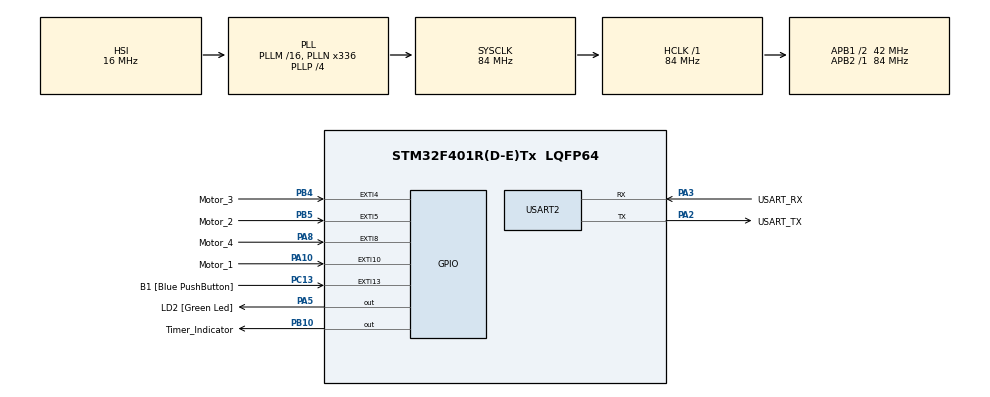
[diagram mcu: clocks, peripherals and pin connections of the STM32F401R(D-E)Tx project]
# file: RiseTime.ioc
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Mcu.Family=STM32F4
Mcu.Name=STM32F401R(D-E)Tx
Mcu.Package=LQFP64
NVIC.EXTI15_10_IRQn=true\:0\:0\:false\:false\:true
NVIC.EXTI4_IRQn=true\:0\:0\:false\:false\:true
NVIC.EXTI9_5_IRQn=true\:0\:0\:false\:false\:true
NVIC.PriorityGroup=NVIC_PRIORITYGROUP_0
NVIC.TIM2_IRQn=true\:0\:0\:false\:false\:true
PA10.GPIO_Label=Motor_1
PA10.GPIO_ModeDefaultEXTI=GPIO_MODE_IT_FALLING
PA10.Signal=GPXTI10
PA13.GPIO_Label=TMS
PA13.Signal=SYS_JTMS-SWDIO
PA14.GPIO_Label=TCK
PA14.Signal=SYS_JTCK-SWCLK
PA2.GPIO_Label=USART_TX
PA2.GPIO_Mode=GPIO_MODE_AF_PP
PA2.GPIO_PuPd=GPIO_NOPULL
PA2.GPIO_Speed=GPIO_SPEED_FREQ_LOW
PA2.Mode=Asynchronous
PA2.Signal=USART2_TX
PA3.GPIO_Label=USART_RX
PA3.GPIO_Mode=GPIO_MODE_AF_PP
PA3.GPIO_PuPd=GPIO_NOPULL
PA3.GPIO_Speed=GPIO_SPEED_FREQ_LOW
PA3.Mode=Asynchronous
PA3.Signal=USART2_RX
PA5.GPIO_Label=LD2 [Green Led]
PA5.GPIO_Mode=GPIO_MODE_OUTPUT_PP
PA5.GPIO_PuPd=GPIO_NOPULL
PA5.GPIO_Speed=GPIO_SPEED_FREQ_LOW
PA5.Signal=GPIO_Output
PA8.GPIO_Label=Motor_4
PA8.GPIO_ModeDefaultEXTI=GPIO_MODE_IT_FALLING
PA8.Signal=GPXTI8
PB10.GPIO_Label=Timer_Indicator
PB10.Signal=GPIO_Output
PB3.GPIO_Label=SWO
PB3.Signal=SYS_JTDO-SWO
PB4.GPIO_Label=Motor_3
PB4.GPIO_ModeDefaultEXTI=GPIO_MODE_IT_FALLING
PB4.Signal=GPXTI4
PB5.GPIO_Label=Motor_2
PB5.GPIO_ModeDefaultEXTI=GPIO_MODE_IT_FALLING
PB5.Signal=GPXTI5
PC13-ANTI_TAMP.GPIO_Label=B1 [Blue PushButton]
PC13-ANTI_TAMP.GPIO_ModeDefaultEXTI=GPIO_MODE_IT_FALLING
PC13-ANTI_TAMP.GPIO_PuPd=GPIO_NOPULL
PC13-ANTI_TAMP.Signal=GPXTI13
PC14-OSC32_IN.Signal=RCC_OSC32_IN
PC15-OSC32_OUT.Signal=RCC_OSC32_OUT
PH0\ -\ OSC_IN.Signal=RCC_OSC_IN
PH1\ -\ OSC_OUT.Signal=RCC_OSC_OUT
ProjectManager.HeapSize=0x200
ProjectManager.StackSize=0x400
ProjectManager.TargetToolchain=SW4STM32
RCC.AHBFreq_Value=84000000
RCC.APB1CLKDivider=RCC_HCLK_DIV2
RCC.APB1Freq_Value=42000000
RCC.APB1TimFreq_Value=84000000
RCC.APB2Freq_Value=84000000
RCC.APB2TimFreq_Value=84000000
RCC.CortexFreq_Value=84000000
RCC.HCLKFreq_Value=84000000
RCC.HSE_VALUE=8000000
RCC.HSI_VALUE=16000000
RCC.LSE_VALUE=32768
RCC.PLLN=336
RCC.PLLP=RCC_PLLP_DIV4
RCC.PLLQ=7
RCC.SYSCLKFreq_VALUE=84000000
RCC.SYSCLKSource=RCC_SYSCLKSOURCE_PLLCLK
RCC.VCOOutputFreq_Value=336000000
TIM2.Period=42000000
TIM2.Prescaler=1
VP_TIM2_VS_ClockSourceINT.Mode=Internal
board=NUCLEO-F401RE

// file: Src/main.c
/**
 ******************************************************************************
 * File Name          : main.c
 * Description        : Main program body
 ******************************************************************************
 *
 * COPYRIGHT(c) 2017 STMicroelectronics
 *
 * Redistribution and use in source and binary forms, with or without modification,
 * are permitted provided that the following conditions are met:
 *   1. Redistributions of source code must retain the above copyright notice,
 *      this list of conditions and the following disclaimer.
 *   2. Redistributions in binary form must reproduce the above copyright notice,
 *      this list of conditions and the following disclaimer in the documentation
 *      and/or other materials provided with the distribution.
 *   3. Neither the name of STMicroelectronics nor the names of its contributors
 *      may be used to endorse or promote products derived from this software
 *      without specific prior written permission.
 *
 * THIS SOFTWARE IS PROVIDED BY THE COPYRIGHT HOLDERS AND CONTRIBUTORS "AS IS"
 * AND ANY EXPRESS OR IMPLIED WARRANTIES, INCLUDING, BUT NOT LIMITED TO, THE
 * IMPLIED WARRANTIES OF MERCHANTABILITY AND FITNESS FOR A PARTICULAR PURPOSE ARE
 * DISCLAIMED. IN NO EVENT SHALL THE COPYRIGHT HOLDER OR CONTRIBUTORS BE LIABLE
 * FOR ANY DIRECT, INDIRECT, INCIDENTAL, SPECIAL, EXEMPLARY, OR CONSEQUENTIAL
 * DAMAGES (INCLUDING, BUT NOT LIMITED TO, PROCUREMENT OF SUBSTITUTE GOODS OR
 * SERVICES; LOSS OF USE, DATA, OR PROFITS; OR BUSINESS INTERRUPTION) HOWEVER
 * CAUSED AND ON ANY THEORY OF LIABILITY, WHETHER IN CONTRACT, STRICT LIABILITY,
 * OR TORT (INCLUDING NEGLIGENCE OR OTHERWISE) ARISING IN ANY WAY OUT OF THE USE
 * OF THIS SOFTWARE, EVEN IF ADVISED OF THE POSSIBILITY OF SUCH DAMAGE.
 *
 ******************************************************************************
 */
#include "main.h"
#include "stm32f4xx_hal.h"
#include "tim.h"
#include "usart.h"
#include "gpio.h"

/* USER CODE BEGIN Includes */
#include <string.h>
#include <stdlib.h>
#include "interruptHandlers.h"

/* USER CODE END Includes */

/* USER CODE BEGIN PV */
/* Private variables ---------------------------------------------------------*/

// Temp array to use for string generation
uint8_t tempArray[255];

uint32_t copiedValues[LENGTH_ROTOR_TIMES];

// Variable to debounce the button
uint8_t pressed = 0;

/* USER CODE END PV */

void SystemClock_Config(void);
void Error_Handler(void);

/* USER CODE BEGIN PFP */
/* Private function prototypes -----------------------------------------------*/

/* USER CODE END PFP */

int main(void)
{

	/* MCU Configuration----------------------------------------------------------*/

	/* Reset of all peripherals, Initializes the Flash interface and the Systick. */
	HAL_Init();

	/* Configure the system clock */
	SystemClock_Config();

	/* Initialize all configured peripherals */
	MX_GPIO_Init();
	MX_TIM2_Init();
	MX_USART2_UART_Init();

	/* USER CODE BEGIN 2 */
	uint8_t ready = 1;
	copied = 0;
	copying = 0;
	cycled_once = 0;
	HAL_GPIO_WritePin(LD2_GPIO_Port, LD2_Pin, 0);

	// Add the callbacks for the EXTI interrupts

	char* message = "Hello World\r\n";

	HAL_UART_Transmit(&huart2, (uint8_t*) message, strlen(message), 1000);

	// Start the timer
	HAL_TIM_Base_Start_IT(&htim2);

	/* USER CODE END 2 */

	/* Infinite loop */
	while (1)
	{

		/* USER CODE BEGIN 3 */

		uint8_t button = HAL_GPIO_ReadPin(B1_GPIO_Port, B1_Pin);

		if ( cycled_once == 1 && ready) {
			// Access 50 back to see if the value has changed enough
			int16_t pastIndex = currentIndex - 1250;
			if (pastIndex < 0) {
				pastIndex = LENGTH_ROTOR_TIMES + pastIndex;
			}

			int32_t diff = rotorTimes[currentIndex] - rotorTimes[pastIndex];

			if ( abs(diff) > TRIGGER ) {
				copying = 1;
				ready = 0;

				memcpy( (void*) copiedValues, (void*) rotorTimes, LENGTH_ROTOR_TIMES*4 );

				for (int i = 0; i < LENGTH_ROTOR_TIMES; i++) {
					rotorTimes[i] = 0;
				}
				cycled_once = 0;

				HAL_GPIO_WritePin(LD2_GPIO_Port, LD2_Pin, 1);
				copying = 0;
			}
		}

		if (pressed == 0 && button == 0) {
			// On a button press, set debounce flag
			pressed = 1;

			sprintf( (char*) tempArray, "New Data:\r\n");
			HAL_UART_Transmit(&huart2, tempArray, strlen((char*) tempArray), 1000);

			for (uint16_t i = 0; i < LENGTH_ROTOR_TIMES; i++) {
				// Create a string of all the average values and then send it over UART2
				sprintf((char*) tempArray, "%d, ", copiedValues[i]);

				HAL_UART_Transmit(&huart2, tempArray, strlen((char*) tempArray), 1000);
			}
			sprintf( (char*) tempArray, "\r\n");
			HAL_UART_Transmit(&huart2, tempArray, strlen((char*) tempArray), 1000);
			HAL_GPIO_WritePin(LD2_GPIO_Port, LD2_Pin, 0);
			ready = 1;
		} else if (button == 1) {
			// Reset debounce flag once button is depressed
			pressed = 0;
		}
	}
	/* USER CODE END 3 */

}

/** System Clock Configuration
 */
void SystemClock_Config(void)
{

	RCC_OscInitTypeDef RCC_OscInitStruct;
	RCC_ClkInitTypeDef RCC_ClkInitStruct;

	/**Configure the main internal regulator output voltage
	 */
	__HAL_RCC_PWR_CLK_ENABLE();

	__HAL_PWR_VOLTAGESCALING_CONFIG(PWR_REGULATOR_VOLTAGE_SCALE2);

	/**Initializes the CPU, AHB and APB busses clocks
	 */
	RCC_OscInitStruct.OscillatorType = RCC_OSCILLATORTYPE_HSI;
	RCC_OscInitStruct.HSIState = RCC_HSI_ON;
	RCC_OscInitStruct.HSICalibrationValue = 16;
	RCC_OscInitStruct.PLL.PLLState = RCC_PLL_ON;
	RCC_OscInitStruct.PLL.PLLSource = RCC_PLLSOURCE_HSI;
	RCC_OscInitStruct.PLL.PLLM = 16;
	RCC_OscInitStruct.PLL.PLLN = 336;
	RCC_OscInitStruct.PLL.PLLP = RCC_PLLP_DIV4;
	RCC_OscInitStruct.PLL.PLLQ = 7;
	if (HAL_RCC_OscConfig(&RCC_OscInitStruct) != HAL_OK)
	{
		Error_Handler();
	}

	/**Initializes the CPU, AHB and APB busses clocks
	 */
	RCC_ClkInitStruct.ClockType = RCC_CLOCKTYPE_HCLK|RCC_CLOCKTYPE_SYSCLK
			|RCC_CLOCKTYPE_PCLK1|RCC_CLOCKTYPE_PCLK2;
	RCC_ClkInitStruct.SYSCLKSource = RCC_SYSCLKSOURCE_PLLCLK;
	RCC_ClkInitStruct.AHBCLKDivider = RCC_SYSCLK_DIV1;
	RCC_ClkInitStruct.APB1CLKDivider = RCC_HCLK_DIV2;
	RCC_ClkInitStruct.APB2CLKDivider = RCC_HCLK_DIV1;

	if (HAL_RCC_ClockConfig(&RCC_ClkInitStruct, FLASH_LATENCY_2) != HAL_OK)
	{
		Error_Handler();
	}

	/**Configure the Systick interrupt time
	 */
	HAL_SYSTICK_Config(HAL_RCC_GetHCLKFreq()/1000);

	/**Configure the Systick
	 */
	HAL_SYSTICK_CLKSourceConfig(SYSTICK_CLKSOURCE_HCLK);

	/* SysTick_IRQn interrupt configuration */
	HAL_NVIC_SetPriority(SysTick_IRQn, 0, 0);
}

void Error_Handler(void)
{
	while(1)
	{
	}
}

/************************ (C) COPYRIGHT STMicroelectronics *****END OF FILE****/
